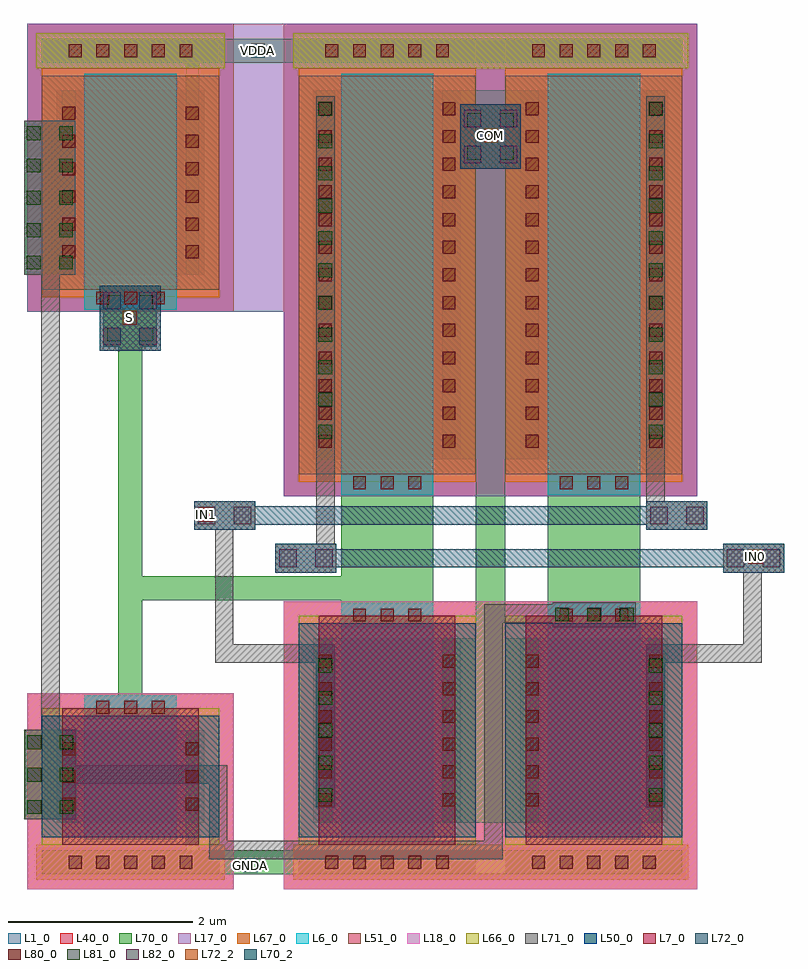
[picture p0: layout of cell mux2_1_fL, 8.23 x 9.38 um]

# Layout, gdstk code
from math import pi, radians
import gdstk
lib = gdstk.Library(unit=1e-6, precision=1e-09)
def R(c, l, rs):  # rectangles x0, y0, x1, y1
    for r in rs: c.add(gdstk.rectangle(r[:2], r[2:], *l))
def A(c, l, x, y, w, h, nx, ny, dx, dy):  # array of equal rectangles
    R(c, l, [(x+i*dx, y+j*dy, x+i*dx+w, y+j*dy+h) for i in range(nx) for j in range(ny)])
L1_0 = (1, 0)
L6_0 = (6, 0)
L7_0 = (7, 0)
L17_0 = (17, 0)
L18_0 = (18, 0)
L40_0 = (40, 0)
L50_0 = (50, 0)
L51_0 = (51, 0)
L66_0 = (66, 0)
L67_0 = (67, 0)
L70_0 = (70, 0)
L70_2 = (70, 2)
L71_0 = (71, 0)
L72_0 = (72, 0)
L72_2 = (72, 2)
L80_0 = (80, 0)
L81_0 = (81, 0)
L82_0 = (82, 0)

contact_cdns_78153936025 = lib.new_cell('Contact_CDNS_781539360251')
R(contact_cdns_78153936025, L1_0, [(0,-0.13,0.15,3.87)])
R(contact_cdns_78153936025, L70_0, [(0,-0.13,0.15,3.87)])
A(contact_cdns_78153936025, L80_0, 0.005, 0, 0.14, 0.14, 1, 13, 0, 0.3)

c_contact_cdns_78153936025 = lib.new_cell('Contact_CDNS_781539360252')
R(c_contact_cdns_78153936025, L6_0, [(-0.07,0,0.93,0.26)])
R(c_contact_cdns_78153936025, L70_0, [(-0.07,0,0.93,0.26)])
A(c_contact_cdns_78153936025, L80_0, 0.06, 0.06, 0.14, 0.14, 3, 1, 0.3, 0)

abutcontact_cdns_7815393 = lib.new_cell('AbutContact_CDNS_781539360253')
R(abutcontact_cdns_7815393, L1_0, [(-0.13,0,1.79,0.26)])
R(abutcontact_cdns_7815393, L66_0, [(-0.19,-0.06,1.85,0.32)])
R(abutcontact_cdns_7815393, L70_0, [(-0.13,0,1.79,0.26)])
A(abutcontact_cdns_7815393, L80_0, 0.16, 0.06, 0.14, 0.14, 5, 1, 0.3, 0)

pmos1v2hvt_4_cdns_781539 = lib.new_cell('pmos1v2hvt_4_CDNS_781539360250')
R(pmos1v2hvt_4_cdns_781539, L1_0, [(-0.3,0,0,4), (-0.3,0,1.3,4), (0,0,1,4), (1,0,1.3,4)])
R(pmos1v2hvt_4_cdns_781539, L6_0, [(0,-0.18,1,0), (0,0,1,4), (0,4,1,4.18), (0,4.12,1,4.38), (0,4.12,1,4.38)])
R(pmos1v2hvt_4_cdns_781539, L17_0, [(-0.62,-0.72,1.62,4.4)])
R(pmos1v2hvt_4_cdns_781539, L40_0, [(-0.62,-0.72,1.62,4.4)])
R(pmos1v2hvt_4_cdns_781539, L51_0, [(-0.46,-0.16,1.46,4.16)])
R(pmos1v2hvt_4_cdns_781539, L67_0, [(-0.46,-0.24,1.46,4.24)])
R(pmos1v2hvt_4_cdns_781539, L70_0, [(-0.46,-0.56,1.46,-0.3), (-0.245,0,-0.095,4), (1.095,0,1.245,4), (0,4.12,1,4.38)])
pmos1v2hvt_4_cdns_781539.add(gdstk.Reference(contact_cdns_78153936025, (1.095,0.13)))
pmos1v2hvt_4_cdns_781539.add(gdstk.Reference(contact_cdns_78153936025, (-0.245,0.13)))
pmos1v2hvt_4_cdns_781539.add(gdstk.Reference(c_contact_cdns_78153936025, (0.07,4.12)))
pmos1v2hvt_4_cdns_781539.add(gdstk.Reference(abutcontact_cdns_7815393, (-0.33,-0.56)))

c_contact_cdns_78153936025_ = lib.new_cell('Contact_CDNS_781539360255')
R(c_contact_cdns_78153936025_, L1_0, [(0,-0.125,0.15,1.765)])
R(c_contact_cdns_78153936025_, L70_0, [(0,-0.125,0.15,1.765)])
A(c_contact_cdns_78153936025_, L80_0, 0.005, 0, 0.14, 0.14, 1, 6, 0, 0.3)

c_pmos1v2hvt_4_cdns_781539 = lib.new_cell('pmos1v2hvt_4_CDNS_781539360254')
R(c_pmos1v2hvt_4_cdns_781539, L1_0, [(-0.3,0,0,2), (-0.3,0,1.3,2), (0,0,1,2), (1,0,1.3,2)])
R(c_pmos1v2hvt_4_cdns_781539, L6_0, [(0,-0.18,1,0), (0,0,1,2), (0,2,1,2.18), (0,2.12,1,2.38), (0,2.12,1,2.38)])
R(c_pmos1v2hvt_4_cdns_781539, L17_0, [(-0.62,-0.72,1.62,2.4)])
R(c_pmos1v2hvt_4_cdns_781539, L40_0, [(-0.62,-0.72,1.62,2.4)])
R(c_pmos1v2hvt_4_cdns_781539, L51_0, [(-0.46,-0.16,1.46,2.16)])
R(c_pmos1v2hvt_4_cdns_781539, L67_0, [(-0.46,-0.24,1.46,2.24)])
R(c_pmos1v2hvt_4_cdns_781539, L70_0, [(-0.46,-0.56,1.46,-0.3), (-0.245,0,-0.095,2), (1.095,0,1.245,2), (0,2.12,1,2.38)])
c_pmos1v2hvt_4_cdns_781539.add(gdstk.Reference(c_contact_cdns_78153936025_, (1.095,0.18)))
c_pmos1v2hvt_4_cdns_781539.add(gdstk.Reference(c_contact_cdns_78153936025_, (-0.245,0.18)))
c_pmos1v2hvt_4_cdns_781539.add(gdstk.Reference(c_contact_cdns_78153936025, (0.07,2.12)))
c_pmos1v2hvt_4_cdns_781539.add(gdstk.Reference(abutcontact_cdns_7815393, (-0.33,-0.56)))

c_contact_cdns_78153936025__ = lib.new_cell('Contact_CDNS_781539360257')
R(c_contact_cdns_78153936025__, L1_0, [(0,-0.13,0.15,0.87)])
R(c_contact_cdns_78153936025__, L70_0, [(0,-0.13,0.15,0.87)])
A(c_contact_cdns_78153936025__, L80_0, 0.005, 0, 0.14, 0.14, 1, 3, 0, 0.3)

c_abutcontact_cdns_7815393 = lib.new_cell('AbutContact_CDNS_781539360258')
R(c_abutcontact_cdns_7815393, L1_0, [(-0.13,0,1.79,0.26)])
R(c_abutcontact_cdns_7815393, L67_0, [(-0.19,-0.06,1.85,0.32)])
R(c_abutcontact_cdns_7815393, L70_0, [(-0.13,0,1.79,0.26)])
A(c_abutcontact_cdns_7815393, L80_0, 0.16, 0.06, 0.14, 0.14, 5, 1, 0.3, 0)

nmos1v2hvt_4_cdns_781539 = lib.new_cell('nmos1v2hvt_4_CDNS_781539360256')
R(nmos1v2hvt_4_cdns_781539, L1_0, [(-0.3,0,0,1), (-0.3,0,1.3,1), (0,0,1,1), (1,0,1.3,1)])
R(nmos1v2hvt_4_cdns_781539, L6_0, [(0,-0.18,1,0), (0,0,1,1), (0,1,1,1.18), (0,1.12,1,1.38), (0,1.12,1,1.38)])
R(nmos1v2hvt_4_cdns_781539, L7_0, [(-0.24,-0.24,1.24,1.24)])
R(nmos1v2hvt_4_cdns_781539, L18_0, [(-0.62,-0.72,1.62,1.4)])
R(nmos1v2hvt_4_cdns_781539, L40_0, [(-0.62,-0.72,1.62,1.4)])
R(nmos1v2hvt_4_cdns_781539, L50_0, [(-0.46,-0.16,1.46,1.16)])
R(nmos1v2hvt_4_cdns_781539, L66_0, [(-0.46,-0.24,1.46,1.24)])
R(nmos1v2hvt_4_cdns_781539, L70_0, [(-0.46,-0.56,1.46,-0.3), (-0.245,0,-0.095,1), (1.095,0,1.245,1), (0,1.12,1,1.38)])
nmos1v2hvt_4_cdns_781539.add(gdstk.Reference(c_contact_cdns_78153936025__, (1.095,0.13)))
nmos1v2hvt_4_cdns_781539.add(gdstk.Reference(c_contact_cdns_78153936025__, (-0.245,0.13)))
nmos1v2hvt_4_cdns_781539.add(gdstk.Reference(c_contact_cdns_78153936025, (0.07,1.12)))
nmos1v2hvt_4_cdns_781539.add(gdstk.Reference(c_abutcontact_cdns_7815393, (-0.33,-0.56)))

c_nmos1v2hvt_4_cdns_781539 = lib.new_cell('nmos1v2hvt_4_CDNS_781539360259')
R(c_nmos1v2hvt_4_cdns_781539, L1_0, [(-0.3,0,0,2), (-0.3,0,1.3,2), (0,0,1,2), (1,0,1.3,2)])
R(c_nmos1v2hvt_4_cdns_781539, L6_0, [(0,-0.18,1,0), (0,0,1,2), (0,2,1,2.18), (0,2.12,1,2.38), (0,2.12,1,2.38)])
R(c_nmos1v2hvt_4_cdns_781539, L7_0, [(-0.24,-0.24,1.24,2.24)])
R(c_nmos1v2hvt_4_cdns_781539, L18_0, [(-0.62,-0.72,1.62,2.4)])
R(c_nmos1v2hvt_4_cdns_781539, L40_0, [(-0.62,-0.72,1.62,2.4)])
R(c_nmos1v2hvt_4_cdns_781539, L50_0, [(-0.46,-0.16,1.46,2.16)])
R(c_nmos1v2hvt_4_cdns_781539, L66_0, [(-0.46,-0.24,1.46,2.24)])
R(c_nmos1v2hvt_4_cdns_781539, L70_0, [(-0.46,-0.56,1.46,-0.3), (-0.245,0,-0.095,2), (1.095,0,1.245,2), (0,2.12,1,2.38)])
c_nmos1v2hvt_4_cdns_781539.add(gdstk.Reference(c_contact_cdns_78153936025_, (1.095,0.18)))
c_nmos1v2hvt_4_cdns_781539.add(gdstk.Reference(c_contact_cdns_78153936025_, (-0.245,0.18)))
c_nmos1v2hvt_4_cdns_781539.add(gdstk.Reference(c_contact_cdns_78153936025, (0.07,2.12)))
c_nmos1v2hvt_4_cdns_781539.add(gdstk.Reference(c_abutcontact_cdns_7815393, (-0.33,-0.56)))

m1_m2_cdns_781539360250 = lib.new_cell('M1_M2_CDNS_781539360250')
R(m1_m2_cdns_781539360250, L70_0, [(-0.105,-1.885,0.105,1.885)])
R(m1_m2_cdns_781539360250, L71_0, [(-0.1,-1.885,0.1,1.885)])
A(m1_m2_cdns_781539360250, L81_0, -0.075, -1.825, 0.15, 0.15, 1, 11, 0, 0.35)

m1_m2_cdns_781539360251 = lib.new_cell('M1_M2_CDNS_781539360251')
R(m1_m2_cdns_781539360251, L70_0, [(-0.105,-0.835,0.105,0.835)])
R(m1_m2_cdns_781539360251, L71_0, [(-0.1,-0.835,0.1,0.835)])
A(m1_m2_cdns_781539360251, L81_0, -0.075, -0.775, 0.15, 0.15, 1, 5, 0, 0.35)

m2_m3_cdns_781539360252 = lib.new_cell('M2_M3_CDNS_781539360252')
R(m2_m3_cdns_781539360252, L71_0, [(-0.33,-0.155,0.33,0.155)])
R(m2_m3_cdns_781539360252, L72_0, [(-0.33,-0.155,0.33,0.155)])
R(m2_m3_cdns_781539360252, L82_0, [(-0.29,-0.095,-0.1,0.095), (0.1,-0.095,0.29,0.095)])

m1_m2_cdns_781539360253 = lib.new_cell('M1_M2_CDNS_781539360253')
R(m1_m2_cdns_781539360253, L70_0, [(-0.28,-0.485,0.28,0.485)])
R(m1_m2_cdns_781539360253, L71_0, [(-0.275,-0.485,0.275,0.485)])
A(m1_m2_cdns_781539360253, L81_0, -0.25, -0.425, 0.15, 0.15, 1, 3, 0, 0.35)
A(m1_m2_cdns_781539360253, L81_0, 0.1, -0.425, 0.15, 0.15, 1, 3, 0, 0.35)

m1_m2_cdns_781539360254 = lib.new_cell('M1_M2_CDNS_781539360254')
R(m1_m2_cdns_781539360254, L70_0, [(-0.28,-0.835,0.28,0.835)])
R(m1_m2_cdns_781539360254, L71_0, [(-0.275,-0.835,0.275,0.835)])
A(m1_m2_cdns_781539360254, L81_0, -0.25, -0.775, 0.15, 0.15, 1, 5, 0, 0.35)
A(m1_m2_cdns_781539360254, L81_0, 0.1, -0.775, 0.15, 0.15, 1, 5, 0, 0.35)

m1_m2_cdns_781539360255 = lib.new_cell('M1_M2_CDNS_781539360255')
R(m1_m2_cdns_781539360255, L70_0, [(-0.455,-0.135,0.455,0.135)])
R(m1_m2_cdns_781539360255, L71_0, [(-0.45,-0.135,0.45,0.135)])
A(m1_m2_cdns_781539360255, L81_0, -0.425, -0.075, 0.15, 0.15, 3, 1, 0.35, 0)

m2_m3_cdns_781539360256 = lib.new_cell('M2_M3_CDNS_781539360256')
R(m2_m3_cdns_781539360256, L71_0, [(-0.33,-0.35,0.33,0.35)])
R(m2_m3_cdns_781539360256, L72_0, [(-0.33,-0.35,0.33,0.35)])
R(m2_m3_cdns_781539360256, L82_0, [(-0.29,-0.29,-0.1,-0.1), (0.1,-0.29,0.29,-0.1), (-0.29,0.1,-0.1,0.29), (0.1,0.1,0.29,0.29)])

m1_m2_cdns_781539360257 = lib.new_cell('M1_M2_CDNS_781539360257')
R(m1_m2_cdns_781539360257, L70_0, [(-0.29,-0.31,0.29,0.31)])
R(m1_m2_cdns_781539360257, L71_0, [(-0.33,-0.35,0.33,0.35)])
R(m1_m2_cdns_781539360257, L81_0, [(-0.25,-0.25,-0.1,-0.1), (0.1,-0.25,0.25,-0.1), (-0.25,0.1,-0.1,0.25), (0.1,0.1,0.25,0.25)])

mux2_1_fl = lib.new_cell('mux2_1_fL')
R(mux2_1_fl, L17_0, [(2.19,6.31,3.15,9.43)])
R(mux2_1_fl, L66_0, [(4.9,8.95,5.34,9.33)])
R(mux2_1_fl, L67_0, [(4.89,0.155,5.32,0.535)])
R(mux2_1_fl, L70_0, [(2.08,0.215,3.165,0.475), (4.76,0.215,5.505,0.475), (0.555,0.775,0.58,0.81), (4.61,0.775,5.49,2.775), (4.91,2.39,5.23,4.765), (3.45,3,4.45,4.465), (5.69,3.04,6.69,4.415), (4.61,4.71,5.49,8.71), (3.175,8.645,3.21,8.71), (3.175,8.645,3.205,8.71), (3.35,8.645,3.385,8.71), (3.35,8.645,3.385,8.71), (6.755,8.645,6.965,8.71), (6.755,8.645,6.965,8.71), (2.105,9.01,3.085,9.27), (4.885,9.01,5.365,9.27)])
R(mux2_1_fl, L70_2, [(2.395,0.235,2.545,0.385), (2.475,9.065,2.625,9.215)])
R(mux2_1_fl, L72_2, [(7.865,3.58,8.015,3.73), (1.915,4.035,2.065,4.185), (1.085,6.17,1.235,6.32), (5,8.145,5.15,8.295)])
mux2_1_fl.add(gdstk.FlexPath([(1.84,8.68),(1.84,9.075)], 0.15, ends="flush", simple_path=True, layer=70, datatype=0))  # L70_0
mux2_1_fl.add(gdstk.FlexPath([(1.84,0.8),(1.84,0.395)], 0.15, ends="flush", simple_path=True, layer=70, datatype=0))  # L70_0
mux2_1_fl.add(gdstk.FlexPath([(1.165,3.315),(3.45,3.315)], 0.26, ends=(0.13, 0), simple_path=True, layer=70, datatype=0))  # L70_0
mux2_1_fl.add(gdstk.FlexPath([(1.165,3.315),(1.165,6.48)], 0.26, ends=(0.13, 0), simple_path=True, layer=70, datatype=0))  # L70_0
mux2_1_fl.add(gdstk.FlexPath([(1.165,2.025),(1.165,3.315)], 0.26, ends="extended", simple_path=True, layer=70, datatype=0))  # L70_0
mux2_1_fl.add(gdstk.FlexPath([(0.68,2.025),(1.165,2.025)], 0.26, ends=(0, 0.13), simple_path=True, layer=70, datatype=0))  # L70_0
mux2_1_fl.add(gdstk.FlexPath([(5.1,3.04),(6.325,3.04)], 0.2, ends=(0.1, 0), simple_path=True, layer=71, datatype=0))  # L71_0
mux2_1_fl.add(gdstk.FlexPath([(5.1,0.48),(5.1,3.04)], 0.2, ends="extended", simple_path=True, layer=71, datatype=0))  # L71_0
mux2_1_fl.add(gdstk.FlexPath([(2.12,0.48),(5.1,0.48)], 0.2, ends="extended", simple_path=True, layer=71, datatype=0))  # L71_0
mux2_1_fl.add(gdstk.FlexPath([(2.12,1.295),(2.12,0.48)], 0.2, ends="extended", simple_path=True, layer=71, datatype=0))  # L71_0
mux2_1_fl.add(gdstk.FlexPath([(0.3,1.295),(2.12,1.295)], 0.2, ends="extended", simple_path=True, layer=71, datatype=0))  # L71_0
mux2_1_fl.add(gdstk.FlexPath([(0.3,7.545),(0.3,1.295)], 0.2, ends="extended", simple_path=True, layer=71, datatype=0))  # L71_0
mux2_1_fl.add(gdstk.FlexPath([(0.295,7.545),(0.3,7.545)], 0.2, ends=(0, 0.1), simple_path=True, layer=71, datatype=0))  # L71_0
mux2_1_fl.add(gdstk.FlexPath([(7.91,3.64),(7.92,3.64)], 0.2, ends=(0.1, 0), simple_path=True, layer=71, datatype=0))  # L71_0
mux2_1_fl.add(gdstk.FlexPath([(7.91,2.61),(7.91,3.64)], 0.2, ends="extended", simple_path=True, layer=71, datatype=0))  # L71_0
mux2_1_fl.add(gdstk.FlexPath([(6.86,2.61),(7.91,2.61)], 0.2, ends="extended", simple_path=True, layer=71, datatype=0))  # L71_0
mux2_1_fl.add(gdstk.FlexPath([(6.86,1.775),(6.86,2.61)], 0.2, ends=(0, 0.1), simple_path=True, layer=71, datatype=0))  # L71_0
mux2_1_fl.add(gdstk.FlexPath([(3.28,3.64),(3.07,3.64)], 0.2, ends=(0.1, 0), simple_path=True, layer=71, datatype=0))  # L71_0
mux2_1_fl.add(gdstk.FlexPath([(3.28,6.76),(3.28,3.64)], 0.2, ends=(0, 0.1), simple_path=True, layer=71, datatype=0))  # L71_0
mux2_1_fl.add(gdstk.FlexPath([(2.185,4.105),(2.19,4.105)], 0.2, ends=(0.1, 0), simple_path=True, layer=71, datatype=0))  # L71_0
mux2_1_fl.add(gdstk.FlexPath([(2.185,2.61),(2.185,4.105)], 0.2, ends="extended", simple_path=True, layer=71, datatype=0))  # L71_0
mux2_1_fl.add(gdstk.FlexPath([(3.28,2.61),(2.185,2.61)], 0.2, ends="extended", simple_path=True, layer=71, datatype=0))  # L71_0
mux2_1_fl.add(gdstk.FlexPath([(3.28,1.775),(3.28,2.61)], 0.2, ends=(0, 0.1), simple_path=True, layer=71, datatype=0))  # L71_0
mux2_1_fl.add(gdstk.FlexPath([(6.86,6.76),(6.86,4.105)], 0.2, ends=(0, 0.1), simple_path=True, layer=71, datatype=0))  # L71_0
mux2_1_fl.add(gdstk.FlexPath([(6.86,4.105),(7.1,4.105)], 0.2, ends=(0.1, 0), simple_path=True, layer=71, datatype=0))  # L71_0
mux2_1_fl.add(gdstk.FlexPath([(2.49,4.105),(7.375,4.105)], 0.2, ends="flush", simple_path=True, layer=72, datatype=0))  # L72_0
mux2_1_fl.add(gdstk.FlexPath([(2.815,3.64),(7.75,3.64)], 0.2, ends="flush", simple_path=True, layer=72, datatype=0))  # L72_0
mux2_1_fl.add(gdstk.Reference(pmos1v2hvt_4_cdns_781539, (3.45,8.71), x_reflection=True))
mux2_1_fl.add(gdstk.Reference(pmos1v2hvt_4_cdns_781539, (6.69,8.71), rotation=pi))
mux2_1_fl.add(gdstk.Reference(c_pmos1v2hvt_4_cdns_781539, (1.67,8.71), rotation=pi))
mux2_1_fl.add(gdstk.Reference(nmos1v2hvt_4_cdns_781539, (1.67,0.775), rotation=pi, x_reflection=True))
mux2_1_fl.add(gdstk.Reference(c_nmos1v2hvt_4_cdns_781539, (4.45,0.775), rotation=pi, x_reflection=True))
mux2_1_fl.add(gdstk.Reference(c_nmos1v2hvt_4_cdns_781539, (5.69,0.775)))
mux2_1_fl.add(gdstk.Reference(m1_m2_cdns_781539360250, (6.86,6.76)))
mux2_1_fl.add(gdstk.Reference(m1_m2_cdns_781539360250, (3.28,6.76)))
mux2_1_fl.add(gdstk.Reference(m1_m2_cdns_781539360251, (6.86,1.775)))
mux2_1_fl.add(gdstk.Reference(m1_m2_cdns_781539360251, (3.28,1.775)))
mux2_1_fl.add(gdstk.Reference(m2_m3_cdns_781539360252, (2.19,4.105)))
mux2_1_fl.add(gdstk.Reference(m2_m3_cdns_781539360252, (3.07,3.64)))
mux2_1_fl.add(gdstk.Reference(m2_m3_cdns_781539360252, (7.92,3.64)))
mux2_1_fl.add(gdstk.Reference(m2_m3_cdns_781539360252, (7.09,4.105)))
mux2_1_fl.add(gdstk.Reference(m1_m2_cdns_781539360253, (0.3,1.295)))
mux2_1_fl.add(gdstk.Reference(m1_m2_cdns_781539360254, (0.295,7.545)))
mux2_1_fl.add(gdstk.Reference(m1_m2_cdns_781539360255, (6.195,3.03)))
mux2_1_fl.add(gdstk.Reference(m2_m3_cdns_781539360256, (1.165,6.24)))
mux2_1_fl.add(gdstk.Reference(m2_m3_cdns_781539360256, (5.07,8.21)))
mux2_1_fl.add(gdstk.Reference(m1_m2_cdns_781539360257, (1.165,6.24)))
mux2_1_fl.add(gdstk.Reference(m1_m2_cdns_781539360257, (5.07,8.21)))
mux2_1_fl.add(gdstk.Label('GNDA', (2.47,0.31), layer=70, texttype=2))
mux2_1_fl.add(gdstk.Label('VDDA', (2.55,9.14), layer=70, texttype=2))
mux2_1_fl.add(gdstk.Label('COM', (5.075,8.22), layer=72, texttype=2))
mux2_1_fl.add(gdstk.Label('IN1', (1.99,4.11), layer=72, texttype=2))
mux2_1_fl.add(gdstk.Label('IN0', (7.94,3.655), layer=72, texttype=2))
mux2_1_fl.add(gdstk.Label('S', (1.16,6.245), layer=72, texttype=2))

lib.write_gds('mux2_1_fL.gds')
